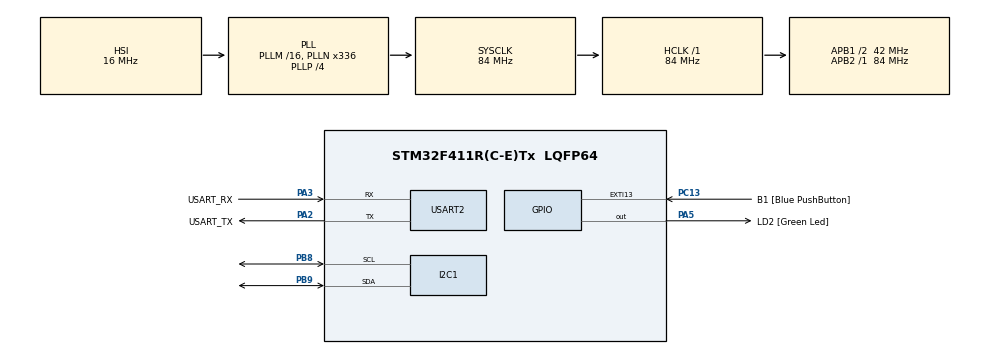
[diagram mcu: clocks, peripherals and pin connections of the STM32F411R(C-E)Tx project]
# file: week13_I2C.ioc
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I2C1.I2C_Mode=I2C_Fast
Mcu.Family=STM32F4
Mcu.Name=STM32F411R(C-E)Tx
Mcu.Package=LQFP64
NVIC.I2C1_ER_IRQn=true\:0\:0\:false\:false\:true\:true\:true
NVIC.I2C1_EV_IRQn=true\:0\:0\:false\:false\:true\:true\:true
NVIC.PriorityGroup=NVIC_PRIORITYGROUP_0
PA13.GPIO_Label=TMS
PA13.Mode=Serial_Wire
PA13.Signal=SYS_JTMS-SWDIO
PA14.GPIO_Label=TCK
PA14.Mode=Serial_Wire
PA14.Signal=SYS_JTCK-SWCLK
PA2.GPIO_Label=USART_TX
PA2.Mode=Asynchronous
PA2.Signal=USART2_TX
PA3.GPIO_Label=USART_RX
PA3.Mode=Asynchronous
PA3.Signal=USART2_RX
PA5.GPIO_Label=LD2 [Green Led]
PA5.Signal=GPIO_Output
PB3.GPIO_Label=SWO
PB3.Signal=SYS_JTDO-SWO
PB8.Mode=I2C
PB8.Signal=I2C1_SCL
PB9.Mode=I2C
PB9.Signal=I2C1_SDA
PC13-ANTI_TAMP.GPIO_Label=B1 [Blue PushButton]
PC13-ANTI_TAMP.GPIO_ModeDefaultEXTI=GPIO_MODE_IT_FALLING
PC13-ANTI_TAMP.Signal=GPXTI13
PC14-OSC32_IN.Mode=LSE-External-Oscillator
PC14-OSC32_IN.Signal=RCC_OSC32_IN
PC15-OSC32_OUT.Mode=LSE-External-Oscillator
PC15-OSC32_OUT.Signal=RCC_OSC32_OUT
PH0\ -\ OSC_IN.Mode=HSE-External-Clock-Source
PH0\ -\ OSC_IN.Signal=RCC_OSC_IN
PH1\ -\ OSC_OUT.Mode=HSE-External-Clock-Source
PH1\ -\ OSC_OUT.Signal=RCC_OSC_OUT
ProjectManager.HeapSize=0x200
ProjectManager.StackSize=0x400
ProjectManager.TargetToolchain=STM32CubeIDE
RCC.48MHZClocksFreq_Value=84000000
RCC.AHBFreq_Value=84000000
RCC.APB1CLKDivider=RCC_HCLK_DIV2
RCC.APB1Freq_Value=42000000
RCC.APB1TimFreq_Value=84000000
RCC.APB2Freq_Value=84000000
RCC.APB2TimFreq_Value=84000000
RCC.CortexFreq_Value=84000000
RCC.FLatency-AdvancedSettings=FLASH_LATENCY_2
RCC.HCLKFreq_Value=84000000
RCC.HSE_VALUE=8000000
RCC.HSI_VALUE=16000000
RCC.PLLN=336
RCC.PLLP=RCC_PLLP_DIV4
RCC.SYSCLKFreq_VALUE=84000000
RCC.SYSCLKSource=RCC_SYSCLKSOURCE_PLLCLK
RCC.VCOOutputFreq_Value=336000000
USART2.VirtualMode=VM_ASYNC
board=NUCLEO-F411RE

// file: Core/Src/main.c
/* USER CODE BEGIN Header */
/**
 ******************************************************************************
 * @file           : main.c
 * @brief          : Main program body
 ******************************************************************************
 * @attention
 *
 * <h2><center>&copy; Copyright (c) 2021 STMicroelectronics.
 * All rights reserved.</center></h2>
 *
 * This software component is licensed by ST under BSD 3-Clause license,
 * the "License"; You may not use this file except in compliance with the
 * License. You may obtain a copy of the License at:
 *                        opensource.org/licenses/BSD-3-Clause
 *
 ******************************************************************************
 */
/* USER CODE END Header */
#include "main.h"

/* USER CODE BEGIN PD */
#define EEPROM_ADDR 0b10100000
#define IOEXPD_ADDR 0b01000000
/* USER CODE END PD */

I2C_HandleTypeDef hi2c1;

UART_HandleTypeDef huart2;

/* USER CODE BEGIN PV */
uint8_t eepromExampleWriteFlag = 0;
uint8_t eepromExampleReadFlag = 0;
uint8_t IOExpdrExampleWriteFlag = 0;
uint8_t IOExpdrExampleReadFlag = 0;
uint8_t eepromDataReadBack[4];
uint8_t IOExpdrDataReadBack;
uint8_t IOExpdrDataWrite = 0b01010101;
uint8_t input_buffer[2] = {0};

/* USER CODE END PV */

void SystemClock_Config(void);
static void MX_GPIO_Init(void);
static void MX_USART2_UART_Init(void);
static void MX_I2C1_Init(void);
/* USER CODE BEGIN PFP */
void EEPROMWriteExample();
void EEPROMReadExample(uint8_t *Rdata, uint16_t len);

void IOExpenderInit();
void IOExpenderReadPinA(uint8_t *Rdata);
void IOExpenderWritePinB(uint8_t Wdata);

/* USER CODE END PFP */

int main(void)
{

  /* MCU Configuration--------------------------------------------------------*/

  /* Reset of all peripherals, Initializes the Flash interface and the Systick. */
  HAL_Init();

  /* Configure the system clock */
  SystemClock_Config();

  /* Initialize all configured peripherals */
  MX_GPIO_Init();
  MX_USART2_UART_Init();
  MX_I2C1_Init();
  /* USER CODE BEGIN 2 */
  HAL_Delay(100);
  IOExpenderInit();
  /* USER CODE END 2 */

  /* Infinite loop */
  /* USER CODE BEGIN WHILE */

  HAL_I2C_Mem_Read_IT(&hi2c1, EEPROM_ADDR, 0x08, I2C_MEMADD_SIZE_16BIT,&IOExpdrDataWrite, 1);
  HAL_Delay(100);
  HAL_I2C_Mem_Write_IT(&hi2c1, IOEXPD_ADDR, 0x15, I2C_MEMADD_SIZE_8BIT,&IOExpdrDataWrite, 1);

	while (1) {

		/*
		EEPROMWriteExample();
		EEPROMReadExample(eepromDataReadBack, 4);

		IOExpenderReadPinA(&IOExpdrDataReadBack);
		IOExpenderWritePinB(IOExpdrDataWrite);
		*/

		input_buffer[0] = HAL_GPIO_ReadPin(GPIOC, GPIO_PIN_13);
		if(input_buffer[0] == 0 && input_buffer[1] == 1){

			//read button and write to EEPROM
			HAL_I2C_Mem_Read_IT(&hi2c1, IOEXPD_ADDR, 0x12, I2C_MEMADD_SIZE_8BIT,&IOExpdrDataReadBack, 1);
			HAL_Delay(100);
			HAL_I2C_Mem_Write_IT(&hi2c1, EEPROM_ADDR, 0x08, I2C_MEMADD_SIZE_16BIT,&IOExpdrDataReadBack, 1);
			HAL_Delay(100);

			//read EEPROM and write data to led
			HAL_I2C_Mem_Read_IT(&hi2c1, EEPROM_ADDR, 0x08, I2C_MEMADD_SIZE_16BIT,&IOExpdrDataWrite, 1);
			HAL_Delay(100);
			HAL_I2C_Mem_Write_IT(&hi2c1, IOEXPD_ADDR, 0x15, I2C_MEMADD_SIZE_8BIT,&IOExpdrDataWrite, 1);

		}
		input_buffer[1] = input_buffer[0];

    /* USER CODE END WHILE */

	}
}

void SystemClock_Config(void)
{
  RCC_OscInitTypeDef RCC_OscInitStruct = {0};
  RCC_ClkInitTypeDef RCC_ClkInitStruct = {0};

  /** Configure the main internal regulator output voltage
  */
  __HAL_RCC_PWR_CLK_ENABLE();
  __HAL_PWR_VOLTAGESCALING_CONFIG(PWR_REGULATOR_VOLTAGE_SCALE1);
  /** Initializes the RCC Oscillators according to the specified parameters
  * in the RCC_OscInitTypeDef structure.
  */
  RCC_OscInitStruct.OscillatorType = RCC_OSCILLATORTYPE_HSI;
  RCC_OscInitStruct.HSIState = RCC_HSI_ON;
  RCC_OscInitStruct.HSICalibrationValue = RCC_HSICALIBRATION_DEFAULT;
  RCC_OscInitStruct.PLL.PLLState = RCC_PLL_ON;
  RCC_OscInitStruct.PLL.PLLSource = RCC_PLLSOURCE_HSI;
  RCC_OscInitStruct.PLL.PLLM = 16;
  RCC_OscInitStruct.PLL.PLLN = 336;
  RCC_OscInitStruct.PLL.PLLP = RCC_PLLP_DIV4;
  RCC_OscInitStruct.PLL.PLLQ = 4;
  if (HAL_RCC_OscConfig(&RCC_OscInitStruct) != HAL_OK)
  {
    Error_Handler();
  }
  /** Initializes the CPU, AHB and APB buses clocks
  */
  RCC_ClkInitStruct.ClockType = RCC_CLOCKTYPE_HCLK|RCC_CLOCKTYPE_SYSCLK
                              |RCC_CLOCKTYPE_PCLK1|RCC_CLOCKTYPE_PCLK2;
  RCC_ClkInitStruct.SYSCLKSource = RCC_SYSCLKSOURCE_PLLCLK;
  RCC_ClkInitStruct.AHBCLKDivider = RCC_SYSCLK_DIV1;
  RCC_ClkInitStruct.APB1CLKDivider = RCC_HCLK_DIV2;
  RCC_ClkInitStruct.APB2CLKDivider = RCC_HCLK_DIV1;

  if (HAL_RCC_ClockConfig(&RCC_ClkInitStruct, FLASH_LATENCY_2) != HAL_OK)
  {
    Error_Handler();
  }
}

static void MX_I2C1_Init(void)
{

  hi2c1.Instance = I2C1;
  hi2c1.Init.ClockSpeed = 400000;
  hi2c1.Init.DutyCycle = I2C_DUTYCYCLE_2;
  hi2c1.Init.OwnAddress1 = 0;
  hi2c1.Init.AddressingMode = I2C_ADDRESSINGMODE_7BIT;
  hi2c1.Init.DualAddressMode = I2C_DUALADDRESS_DISABLE;
  hi2c1.Init.OwnAddress2 = 0;
  hi2c1.Init.GeneralCallMode = I2C_GENERALCALL_DISABLE;
  hi2c1.Init.NoStretchMode = I2C_NOSTRETCH_DISABLE;
  if (HAL_I2C_Init(&hi2c1) != HAL_OK)
  {
    Error_Handler();
  }

}

static void MX_USART2_UART_Init(void)
{

  huart2.Instance = USART2;
  huart2.Init.BaudRate = 115200;
  huart2.Init.WordLength = UART_WORDLENGTH_8B;
  huart2.Init.StopBits = UART_STOPBITS_1;
  huart2.Init.Parity = UART_PARITY_NONE;
  huart2.Init.Mode = UART_MODE_TX_RX;
  huart2.Init.HwFlowCtl = UART_HWCONTROL_NONE;
  huart2.Init.OverSampling = UART_OVERSAMPLING_16;
  if (HAL_UART_Init(&huart2) != HAL_OK)
  {
    Error_Handler();
  }

}

static void MX_GPIO_Init(void)
{
  GPIO_InitTypeDef GPIO_InitStruct = {0};

  /* GPIO Ports Clock Enable */
  __HAL_RCC_GPIOC_CLK_ENABLE();
  __HAL_RCC_GPIOH_CLK_ENABLE();
  __HAL_RCC_GPIOA_CLK_ENABLE();
  __HAL_RCC_GPIOB_CLK_ENABLE();

  /*Configure GPIO pin Output Level */
  HAL_GPIO_WritePin(LD2_GPIO_Port, LD2_Pin, GPIO_PIN_RESET);

  /*Configure GPIO pin : B1_Pin */
  GPIO_InitStruct.Pin = B1_Pin;
  GPIO_InitStruct.Mode = GPIO_MODE_IT_FALLING;
  GPIO_InitStruct.Pull = GPIO_NOPULL;
  HAL_GPIO_Init(B1_GPIO_Port, &GPIO_InitStruct);

  /*Configure GPIO pin : LD2_Pin */
  GPIO_InitStruct.Pin = LD2_Pin;
  GPIO_InitStruct.Mode = GPIO_MODE_OUTPUT_PP;
  GPIO_InitStruct.Pull = GPIO_NOPULL;
  GPIO_InitStruct.Speed = GPIO_SPEED_FREQ_LOW;
  HAL_GPIO_Init(LD2_GPIO_Port, &GPIO_InitStruct);

}

/* USER CODE BEGIN 4 */
void EEPROMWriteExample() {
	if (eepromExampleWriteFlag && hi2c1.State == HAL_I2C_STATE_READY) {

		static uint8_t data[4] = { 0xff, 0x00, 0x55, 0xaa };
		HAL_I2C_Mem_Write_IT(&hi2c1, EEPROM_ADDR, 0x2C, I2C_MEMADD_SIZE_16BIT,
				data, 4);

		eepromExampleWriteFlag = 0;
	}
}
void EEPROMReadExample(uint8_t *Rdata, uint16_t len) {
	if (eepromExampleReadFlag && hi2c1.State == HAL_I2C_STATE_READY) {

		HAL_I2C_Mem_Read_IT(&hi2c1, EEPROM_ADDR, 0x2c, I2C_MEMADD_SIZE_16BIT,
				Rdata, len);
		eepromExampleReadFlag = 0;
	}
}
void IOExpenderInit() {
	//Init All
	static uint8_t Setting[0x16] = { 0xFF, 0x00, 0x00, 0x00, 0x00, 0x00, 0x00,
			0x00, 0x00, 0x00, 0x00, 0x00, 0xFF, 0x00, 0x00, 0x00, 0x00, 0x00,
			0x00, 0x00, 0x00, 0x00 };
	HAL_I2C_Mem_Write(&hi2c1, IOEXPD_ADDR, 0x00, I2C_MEMADD_SIZE_8BIT, Setting,
			0x16, 100);
}
void IOExpenderReadPinA(uint8_t *Rdata) {
	if (IOExpdrExampleReadFlag && hi2c1.State == HAL_I2C_STATE_READY) {
		HAL_I2C_Mem_Read_IT(&hi2c1, IOEXPD_ADDR, 0x12, I2C_MEMADD_SIZE_8BIT,
				Rdata, 1);
		IOExpdrExampleReadFlag =0;
	}
}
void IOExpenderWritePinB(uint8_t Wdata) {
	if (IOExpdrExampleWriteFlag && hi2c1.State == HAL_I2C_STATE_READY) {
		static uint8_t data;
		data = Wdata;
		HAL_I2C_Mem_Write_IT(&hi2c1, IOEXPD_ADDR, 0x15, I2C_MEMADD_SIZE_8BIT,
				&data, 1);
		IOExpdrExampleWriteFlag=0;
	}
}
/* USER CODE END 4 */

void Error_Handler(void)
{
	__disable_irq();
	while (1) {
	}
}

/************************ (C) COPYRIGHT STMicroelectronics *****END OF FILE****/
